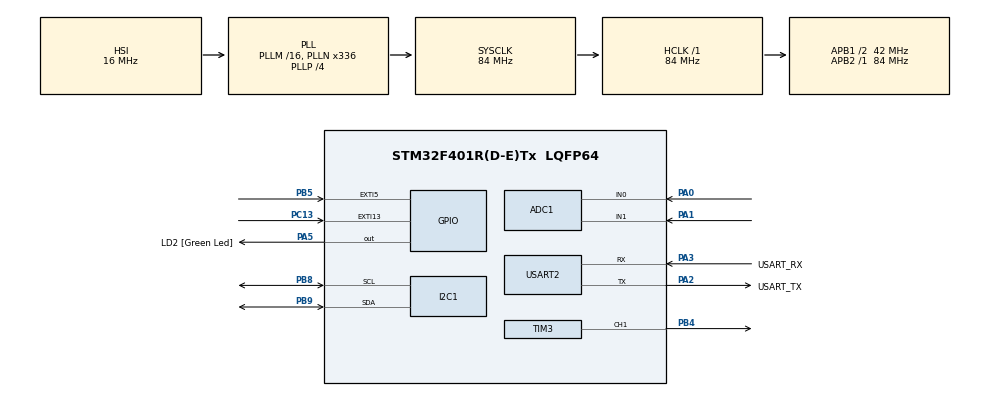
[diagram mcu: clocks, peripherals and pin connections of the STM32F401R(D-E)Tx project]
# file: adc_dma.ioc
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ADC1.Channel-0\#ChannelRegularConversion=ADC_CHANNEL_0
ADC1.Channel-1\#ChannelRegularConversion=ADC_CHANNEL_1
ADC1.ContinuousConvMode=ENABLE
ADC1.DMAContinuousRequests=ENABLE
ADC1.NbrOfConversion=2
ADC1.NbrOfConversionFlag=1
ADC1.Rank-0\#ChannelRegularConversion=1
ADC1.Rank-1\#ChannelRegularConversion=2
ADC1.SamplingTime-0\#ChannelRegularConversion=ADC_SAMPLETIME_480CYCLES
ADC1.SamplingTime-1\#ChannelRegularConversion=ADC_SAMPLETIME_480CYCLES
ADC1.ScanConvMode=ENABLE
ADC1.master=1
Dma.ADC1.0.Direction=DMA_PERIPH_TO_MEMORY
Dma.ADC1.0.FIFOMode=DMA_FIFOMODE_DISABLE
Dma.ADC1.0.Instance=DMA2_Stream0
Dma.ADC1.0.MemDataAlignment=DMA_MDATAALIGN_HALFWORD
Dma.ADC1.0.MemInc=DMA_MINC_ENABLE
Dma.ADC1.0.Mode=DMA_CIRCULAR
Dma.ADC1.0.PeriphDataAlignment=DMA_PDATAALIGN_HALFWORD
Dma.ADC1.0.PeriphInc=DMA_PINC_DISABLE
Dma.ADC1.0.Priority=DMA_PRIORITY_LOW
Dma.Request0=ADC1
I2C1.I2C_Mode=I2C_Fast
I2C1.OwnAddress=117
Mcu.Family=STM32F4
Mcu.Name=STM32F401R(D-E)Tx
Mcu.Package=LQFP64
NVIC.ADC_IRQn=true\:1\:0\:true\:false\:true\:true\:true\:true
NVIC.DMA2_Stream0_IRQn=true\:0\:0\:false\:false\:true\:false\:true\:true
NVIC.EXTI15_10_IRQn=true\:0\:0\:false\:false\:true\:true\:true\:true
NVIC.EXTI9_5_IRQn=true\:0\:0\:false\:false\:true\:true\:true\:true
NVIC.PriorityGroup=NVIC_PRIORITYGROUP_4
NVIC.TIM2_IRQn=true\:0\:0\:false\:false\:true\:true\:true\:true
PA0-WKUP.Signal=ADCx_IN0
PA1.Signal=ADCx_IN1
PA13.GPIO_Label=TMS
PA13.Mode=Serial_Wire
PA13.Signal=SYS_JTMS-SWDIO
PA14.GPIO_Label=TCK
PA14.Mode=Serial_Wire
PA14.Signal=SYS_JTCK-SWCLK
PA2.GPIO_Label=USART_TX
PA2.GPIO_Mode=GPIO_MODE_AF_PP
PA2.GPIO_PuPd=GPIO_NOPULL
PA2.GPIO_Speed=GPIO_SPEED_FREQ_LOW
PA2.Mode=Asynchronous
PA2.Signal=USART2_TX
PA3.GPIO_Label=USART_RX
PA3.GPIO_Mode=GPIO_MODE_AF_PP
PA3.GPIO_PuPd=GPIO_NOPULL
PA3.GPIO_Speed=GPIO_SPEED_FREQ_LOW
PA3.Mode=Asynchronous
PA3.Signal=USART2_RX
PA5.GPIO_Label=LD2 [Green Led]
PA5.GPIO_Mode=GPIO_MODE_OUTPUT_PP
PA5.GPIO_PuPd=GPIO_NOPULL
PA5.GPIO_Speed=GPIO_SPEED_FREQ_LOW
PA5.Signal=GPIO_Output
PB3.GPIO_Label=SWO
PB3.Signal=SYS_JTDO-SWO
PB4.Signal=S_TIM3_CH1
PB5.GPIO_ModeDefaultEXTI=GPIO_MODE_IT_FALLING
PB5.GPIO_PuPd=GPIO_PULLUP
PB5.Signal=GPXTI5
PB8.Mode=I2C
PB8.Signal=I2C1_SCL
PB9.Mode=I2C
PB9.Signal=I2C1_SDA
PC13-ANTI_TAMP.GPIO_ModeDefaultEXTI=GPIO_MODE_IT_FALLING
PC13-ANTI_TAMP.Signal=GPXTI13
PC14-OSC32_IN.Mode=LSE-External-Oscillator
PC14-OSC32_IN.Signal=RCC_OSC32_IN
PC15-OSC32_OUT.Mode=LSE-External-Oscillator
PC15-OSC32_OUT.Signal=RCC_OSC32_OUT
PH0\ -\ OSC_IN.Mode=HSE-External-Clock-Source
PH0\ -\ OSC_IN.Signal=RCC_OSC_IN
PH1\ -\ OSC_OUT.Mode=HSE-External-Clock-Source
PH1\ -\ OSC_OUT.Signal=RCC_OSC_OUT
ProjectManager.HeapSize=0x200
ProjectManager.StackSize=0x400
ProjectManager.TargetToolchain=STM32CubeIDE
RCC.48MHZClocksFreq_Value=48000000
RCC.AHBFreq_Value=84000000
RCC.APB1CLKDivider=RCC_HCLK_DIV2
RCC.APB1Freq_Value=42000000
RCC.APB1TimFreq_Value=84000000
RCC.APB2Freq_Value=84000000
RCC.APB2TimFreq_Value=84000000
RCC.CortexFreq_Value=84000000
RCC.HCLKFreq_Value=84000000
RCC.HSE_VALUE=8000000
RCC.HSI_VALUE=16000000
RCC.PLLN=336
RCC.PLLP=RCC_PLLP_DIV4
RCC.PLLQ=7
RCC.SYSCLKFreq_VALUE=84000000
RCC.SYSCLKSource=RCC_SYSCLKSOURCE_PLLCLK
RCC.VCOOutputFreq_Value=336000000
SH.ADCx_IN0.0=ADC1_IN0,IN0
SH.ADCx_IN1.0=ADC1_IN1,IN1
SH.S_TIM3_CH1.0=TIM3_CH1,PWM Generation1 CH1
TIM2.AutoReloadPreload=TIM_AUTORELOAD_PRELOAD_ENABLE
TIM2.Period=84000-1
TIM2.Prescaler=10
TIM2.TIM_MasterOutputTrigger=TIM_TRGO_UPDATE
TIM3.Channel-PWM\ Generation1\ CH1=TIM_CHANNEL_1
TIM3.Period=500
TIM3.Prescaler=83
USART2.VirtualMode=VM_ASYNC
VP_TIM2_VS_ClockSourceINT.Mode=Internal
board=NUCLEO-F401RE

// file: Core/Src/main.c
/* USER CODE BEGIN Header */
/**
  ******************************************************************************
  * @file           : main.c
  * @brief          : Catch the ball game with 11x7 LED matrix, joystick and
  *                   speaker by Yung.
  ******************************************************************************
  */
/* USER CODE END Header */

#include "main.h"
#include "ledmatrix.h"  // Include the LED matrix header

/* USER CODE BEGIN Includes */
#include <stdio.h>
#include <string.h>
#include <stdbool.h>
/* USER CODE END Includes */

/* USER CODE BEGIN PTD */
/* (Any custom typedefs can be placed here) */
/* USER CODE END PTD */

/* USER CODE BEGIN PD */
#define B1_Pin GPIO_PIN_13
#define B1_GPIO_Port GPIOC

#define LONG_PRESS_THRESHOLD 1000  // Long press threshold in ms
/* USER CODE END PD */

/* USER CODE BEGIN PM */
/* (Any custom macros) */
/* USER CODE END PM */

ADC_HandleTypeDef hadc1;
DMA_HandleTypeDef hdma_adc1;

I2C_HandleTypeDef hi2c1;

TIM_HandleTypeDef htim2;
TIM_HandleTypeDef htim3;

UART_HandleTypeDef huart2;

/* USER CODE BEGIN PV */
/* Global variables for joystick readings */
uint16_t Xaxis = 0;
uint16_t Yaxis = 0;
uint16_t rawValues[2];
char msg[40];

bool beepActive = false;
uint32_t beepStartTick = 0;
const uint32_t beepDuration = 100; // Duration in ms for the nonblocking beep

bool paused = false;  // Global pause flag

/* Game speed variables */
uint32_t gameDelay = 150; // Global frame delay in ms (initial game speed)
const uint32_t minDelay = 50; // Minimum delay (max game speed)

/* Variables for PB5 press detection */
uint32_t pb5_press_time = 0;
bool pb5_pressed_flag = false;
bool pb5_long_press_executed = false;
/* USER CODE END PV */

void SystemClock_Config(void);
static void MX_GPIO_Init(void);
static void MX_DMA_Init(void);
static void MX_USART2_UART_Init(void);
static void MX_ADC1_Init(void);
static void MX_TIM2_Init(void);
static void MX_I2C1_Init(void);
static void MX_TIM3_Init(void);
/* USER CODE BEGIN PFP */
void beep(uint32_t score);
void beepBlocking(void);
/* USER CODE END PFP */

/* USER CODE BEGIN 0 */
void beep(uint32_t score)
{
  if (!beepActive)
  {
    beepActive = true;
    beepStartTick = HAL_GetTick();

    // Calculate tone period based on score (lower period means higher pitch)
    uint32_t basePeriod = 3000; // Start with a low tone
    uint32_t decrement  = 50;
    uint32_t minPeriod  = 300;  // Clamp to a high tone at minimum period
    uint32_t tonePeriod;

    if (score * decrement < (basePeriod - minPeriod))
    {
      tonePeriod = basePeriod - score * decrement;
    }
    else
    {
      tonePeriod = minPeriod;
    }

    __HAL_TIM_SET_AUTORELOAD(&htim3, tonePeriod);
    __HAL_TIM_SET_COMPARE(&htim3, TIM_CHANNEL_1, tonePeriod / 2);
    HAL_TIM_PWM_Start(&htim3, TIM_CHANNEL_1);
  }
}

void beepBlocking(void)
{
  __HAL_TIM_SET_COMPARE(&htim3, TIM_CHANNEL_1, htim3.Init.Period / 2);
  HAL_TIM_PWM_Start(&htim3, TIM_CHANNEL_1);
  HAL_Delay(300);
  HAL_TIM_PWM_Stop(&htim3, TIM_CHANNEL_1);
}

void HAL_GPIO_EXTI_Callback(uint16_t GPIO_Pin)
{
  if (GPIO_Pin == B1_Pin)
  {
    // Toggle the pause flag when B1 is pressed.
    paused = !paused;
  }
}

void HAL_TIM_PeriodElapsedCallback(TIM_HandleTypeDef *htim)
{
  if (htim->Instance == TIM2)
  {
    Xaxis = rawValues[0];
    Yaxis = rawValues[1];
    // Uncomment below lines to debug joystick values via UART:
    // sprintf(msg, "X: %hu, Y: %hu\r\n", Xaxis, Yaxis);
    // HAL_UART_Transmit(&huart2, (uint8_t *)msg, strlen(msg), HAL_MAX_DELAY);
  }
}
/* USER CODE END 0 */

int main(void)
{
  /* USER CODE BEGIN 1 */
  // (Additional pre-initialization code if needed)
  /* USER CODE END 1 */

  /* MCU Configuration--------------------------------------------------------*/

  /* Reset all peripherals, initialize the Flash interface and the Systick. */
  HAL_Init();

  /* USER CODE BEGIN Init */
  // (Additional initialization before system clock configuration)
  /* USER CODE END Init */

  /* Configure the system clock */
  SystemClock_Config();

  /* USER CODE BEGIN SysInit */
  // (Additional system initialization)
  /* USER CODE END SysInit */

  /* Initialize all configured peripherals */
  MX_GPIO_Init();
  MX_DMA_Init();
  MX_USART2_UART_Init();
  MX_ADC1_Init();
  MX_TIM2_Init();
  MX_I2C1_Init();
  MX_TIM3_Init();
  /* USER CODE BEGIN 2 */
  HAL_ADC_Start_DMA(&hadc1, (uint32_t *)rawValues, 2);
  HAL_TIM_Base_Start_IT(&htim2);
  LEDMatrix_TurnOn();

  /* Game variables for paddle and falling object */
  uint8_t paddlePos = 3;
  uint8_t fallRow   = 0;
  uint8_t fallCol   = 3;
  uint32_t scoreLocal = 0;

  /* Joystick thresholds */
  const uint16_t thresholdRight = 2500;
  const uint16_t thresholdLeft  = 1500;
  /* USER CODE END 2 */

  /* Infinite loop */
  /* USER CODE BEGIN WHILE */
  while (1)
  {
    /* --- PB5 Button Polling --- */
    if (HAL_GPIO_ReadPin(GPIOB, GPIO_PIN_5) == GPIO_PIN_RESET)
    {
      if (!pb5_pressed_flag)
      {
        // Button pressed down for the first time.
        pb5_press_time = HAL_GetTick();
        pb5_pressed_flag = true;
        pb5_long_press_executed = false;
      }
      else
      {
        // Button is still pressed.
        if (!pb5_long_press_executed &&
            (HAL_GetTick() - pb5_press_time >= LONG_PRESS_THRESHOLD))
        {
          // Long press detected: run game-over sequence.
          sprintf(msg, "Game Over! Final Score: %lu\r\n", scoreLocal);
          HAL_UART_Transmit(&huart2, (uint8_t *)msg, strlen(msg), HAL_MAX_DELAY);
          LEDMatrix_FlashScreen(3);
          LEDMatrix_DisplayScore(scoreLocal);
          HAL_Delay(2000);

          // Reset game variables.
          scoreLocal = 0;
          gameDelay = 150;
          fallRow = 0;
          fallCol = (fallCol + 2) % 7;
          pb5_long_press_executed = true;
        }
      }
    }
    else
    {
      // Button released.
      if (pb5_pressed_flag)
      {
        // If button was released before the long-press threshold, it's a short press.
        if (!pb5_long_press_executed)
        {
          if (gameDelay > minDelay)
          {
            gameDelay -= 10;
          }
        }
        pb5_pressed_flag = false;
        pb5_long_press_executed = false;
      }
    }

    if (!paused)
    {
      LEDMatrix_ClearScreen();

      if (Yaxis > thresholdRight && paddlePos > 0)
      {
        paddlePos--;
      }
      else if (Yaxis < thresholdLeft && paddlePos < 6)
      {
        paddlePos++;
      }
      LEDMatrix_DrawPaddle(paddlePos);
      LEDMatrix_AddPixel(fallRow, fallCol);
      HAL_Delay(gameDelay);

      if (fallRow < 10)
      {
        fallRow++;
      }
      else
      {
        uint8_t catchStart, catchEnd;
        if (paddlePos == 0)
        {
          catchStart = 0;
          catchEnd   = 2;
        }
        else if (paddlePos >= 6)
        {
          catchStart = 4;
          catchEnd   = 6;
        }
        else
        {
          catchStart = paddlePos - 1;
          catchEnd   = paddlePos + 1;
        }

        if (fallCol >= catchStart && fallCol <= catchEnd)
        {
          beep(scoreLocal);
          scoreLocal++;
          sprintf(msg, "Score: %lu\r\n", scoreLocal);
          HAL_UART_Transmit(&huart2, (uint8_t *)msg, strlen(msg), HAL_MAX_DELAY);
          if (gameDelay > minDelay)
          {
            gameDelay -= 10;
          }
        }
        else
        {
          sprintf(msg, "Game Over! Final Score: %lu\r\n", scoreLocal);
          HAL_UART_Transmit(&huart2, (uint8_t *)msg, strlen(msg), HAL_MAX_DELAY);
          LEDMatrix_FlashScreen(3);
          LEDMatrix_DisplayScore(scoreLocal);
          HAL_Delay(2000);
          scoreLocal = 0;
          gameDelay = 150;
        }
        fallRow = 0;
        fallCol = (fallCol + 2) % 7;
      }
    }
    else
    {
      HAL_GPIO_TogglePin(LD2_GPIO_Port, LD2_Pin);
      HAL_Delay(200);
    }

    if (beepActive && (HAL_GetTick() - beepStartTick >= beepDuration))
    {
      HAL_TIM_PWM_Stop(&htim3, TIM_CHANNEL_1);
      beepActive = false;
    }
  }
  /* USER CODE END WHILE */

  /* USER CODE BEGIN 3 */
  // (Additional code if needed)
  /* USER CODE END 3 */
}

void SystemClock_Config(void)
{
  RCC_OscInitTypeDef RCC_OscInitStruct = {0};
  RCC_ClkInitTypeDef RCC_ClkInitStruct = {0};

  /** Configure the main internal regulator output voltage */
  __HAL_RCC_PWR_CLK_ENABLE();
  __HAL_PWR_VOLTAGESCALING_CONFIG(PWR_REGULATOR_VOLTAGE_SCALE2);

  /** Initializes the RCC Oscillators according to the specified parameters */
  RCC_OscInitStruct.OscillatorType = RCC_OSCILLATORTYPE_HSI;
  RCC_OscInitStruct.HSIState = RCC_HSI_ON;
  RCC_OscInitStruct.HSICalibrationValue = RCC_HSICALIBRATION_DEFAULT;
  RCC_OscInitStruct.PLL.PLLState = RCC_PLL_ON;
  RCC_OscInitStruct.PLL.PLLSource = RCC_PLLSOURCE_HSI;
  RCC_OscInitStruct.PLL.PLLM = 16;
  RCC_OscInitStruct.PLL.PLLN = 336;
  RCC_OscInitStruct.PLL.PLLP = RCC_PLLP_DIV4;
  RCC_OscInitStruct.PLL.PLLQ = 7;
  if (HAL_RCC_OscConfig(&RCC_OscInitStruct) != HAL_OK)
  {
    Error_Handler();
  }
  /** Initializes the CPU, AHB and APB buses clocks */
  RCC_ClkInitStruct.ClockType = RCC_CLOCKTYPE_HCLK | RCC_CLOCKTYPE_SYSCLK
                              | RCC_CLOCKTYPE_PCLK1 | RCC_CLOCKTYPE_PCLK2;
  RCC_ClkInitStruct.SYSCLKSource = RCC_SYSCLKSOURCE_PLLCLK;
  RCC_ClkInitStruct.AHBCLKDivider = RCC_SYSCLK_DIV1;
  RCC_ClkInitStruct.APB1CLKDivider = RCC_HCLK_DIV2;
  RCC_ClkInitStruct.APB2CLKDivider = RCC_HCLK_DIV1;
  if (HAL_RCC_ClockConfig(&RCC_ClkInitStruct, FLASH_LATENCY_2) != HAL_OK)
  {
    Error_Handler();
  }
}

static void MX_ADC1_Init(void)
{
  ADC_ChannelConfTypeDef sConfig = {0};

  hadc1.Instance = ADC1;
  hadc1.Init.ClockPrescaler = ADC_CLOCK_SYNC_PCLK_DIV4;
  hadc1.Init.Resolution = ADC_RESOLUTION_12B;
  hadc1.Init.ScanConvMode = ENABLE;
  hadc1.Init.ContinuousConvMode = ENABLE;
  hadc1.Init.DiscontinuousConvMode = DISABLE;
  hadc1.Init.ExternalTrigConvEdge = ADC_EXTERNALTRIGCONVEDGE_NONE;
  hadc1.Init.ExternalTrigConv = ADC_SOFTWARE_START;
  hadc1.Init.DataAlign = ADC_DATAALIGN_RIGHT;
  hadc1.Init.NbrOfConversion = 2;
  hadc1.Init.DMAContinuousRequests = ENABLE;
  hadc1.Init.EOCSelection = ADC_EOC_SINGLE_CONV;
  if (HAL_ADC_Init(&hadc1) != HAL_OK)
  {
    Error_Handler();
  }
  sConfig.Channel = ADC_CHANNEL_0;
  sConfig.Rank = 1;
  sConfig.SamplingTime = ADC_SAMPLETIME_480CYCLES;
  if (HAL_ADC_ConfigChannel(&hadc1, &sConfig) != HAL_OK)
  {
    Error_Handler();
  }
  sConfig.Channel = ADC_CHANNEL_1;
  sConfig.Rank = 2;
  if (HAL_ADC_ConfigChannel(&hadc1, &sConfig) != HAL_OK)
  {
    Error_Handler();
  }
}

static void MX_I2C1_Init(void)
{
  hi2c1.Instance = I2C1;
  hi2c1.Init.ClockSpeed = 400000;
  hi2c1.Init.DutyCycle = I2C_DUTYCYCLE_2;
  hi2c1.Init.OwnAddress1 = 234;
  hi2c1.Init.AddressingMode = I2C_ADDRESSINGMODE_7BIT;
  hi2c1.Init.DualAddressMode = I2C_DUALADDRESS_DISABLE;
  hi2c1.Init.OwnAddress2 = 0;
  hi2c1.Init.GeneralCallMode = I2C_GENERALCALL_DISABLE;
  hi2c1.Init.NoStretchMode = I2C_NOSTRETCH_DISABLE;
  if (HAL_I2C_Init(&hi2c1) != HAL_OK)
  {
    Error_Handler();
  }
}

static void MX_TIM2_Init(void)
{
  TIM_ClockConfigTypeDef sClockSourceConfig = {0};
  TIM_MasterConfigTypeDef sMasterConfig = {0};

  htim2.Instance = TIM2;
  htim2.Init.Prescaler = 10;
  htim2.Init.CounterMode = TIM_COUNTERMODE_UP;
  htim2.Init.Period = 84000 - 1;
  htim2.Init.ClockDivision = TIM_CLOCKDIVISION_DIV1;
  htim2.Init.AutoReloadPreload = TIM_AUTORELOAD_PRELOAD_ENABLE;
  if (HAL_TIM_Base_Init(&htim2) != HAL_OK)
  {
    Error_Handler();
  }
  sClockSourceConfig.ClockSource = TIM_CLOCKSOURCE_INTERNAL;
  if (HAL_TIM_ConfigClockSource(&htim2, &sClockSourceConfig) != HAL_OK)
  {
    Error_Handler();
  }
  sMasterConfig.MasterOutputTrigger = TIM_TRGO_UPDATE;
  sMasterConfig.MasterSlaveMode = TIM_MASTERSLAVEMODE_DISABLE;
  if (HAL_TIMEx_MasterConfigSynchronization(&htim2, &sMasterConfig) != HAL_OK)
  {
    Error_Handler();
  }
}

static void MX_TIM3_Init(void)
{
  TIM_MasterConfigTypeDef sMasterConfig = {0};
  TIM_OC_InitTypeDef sConfigOC = {0};

  htim3.Instance = TIM3;
  htim3.Init.Prescaler = 83;
  htim3.Init.CounterMode = TIM_COUNTERMODE_UP;
  htim3.Init.Period = 500;
  htim3.Init.ClockDivision = TIM_CLOCKDIVISION_DIV1;
  htim3.Init.AutoReloadPreload = TIM_AUTORELOAD_PRELOAD_DISABLE;
  if (HAL_TIM_PWM_Init(&htim3) != HAL_OK)
  {
    Error_Handler();
  }
  sMasterConfig.MasterOutputTrigger = TIM_TRGO_RESET;
  sMasterConfig.MasterSlaveMode = TIM_MASTERSLAVEMODE_DISABLE;
  if (HAL_TIMEx_MasterConfigSynchronization(&htim3, &sMasterConfig) != HAL_OK)
  {
    Error_Handler();
  }
  sConfigOC.OCMode = TIM_OCMODE_PWM1;
  sConfigOC.Pulse = 0;
  sConfigOC.OCPolarity = TIM_OCPOLARITY_HIGH;
  sConfigOC.OCFastMode = TIM_OCFAST_DISABLE;
  if (HAL_TIM_PWM_ConfigChannel(&htim3, &sConfigOC, TIM_CHANNEL_1) != HAL_OK)
  {
    Error_Handler();
  }
  HAL_TIM_MspPostInit(&htim3);
}

static void MX_USART2_UART_Init(void)
{
  huart2.Instance = USART2;
  huart2.Init.BaudRate = 115200;
  huart2.Init.WordLength = UART_WORDLENGTH_8B;
  huart2.Init.StopBits = UART_STOPBITS_1;
  huart2.Init.Parity = UART_PARITY_NONE;
  huart2.Init.Mode = UART_MODE_TX_RX;
  huart2.Init.HwFlowCtl = UART_HWCONTROL_NONE;
  huart2.Init.OverSampling = UART_OVERSAMPLING_16;
  if (HAL_UART_Init(&huart2) != HAL_OK)
  {
    Error_Handler();
  }
}

static void MX_DMA_Init(void)
{
  __HAL_RCC_DMA2_CLK_ENABLE();

  /* DMA interrupt init */
  HAL_NVIC_SetPriority(DMA2_Stream0_IRQn, 0, 0);
  HAL_NVIC_EnableIRQ(DMA2_Stream0_IRQn);
}

static void MX_GPIO_Init(void)
{
  GPIO_InitTypeDef GPIO_InitStruct = {0};

  /* GPIO Ports Clock Enable */
  __HAL_RCC_GPIOC_CLK_ENABLE();
  __HAL_RCC_GPIOH_CLK_ENABLE();
  __HAL_RCC_GPIOA_CLK_ENABLE();
  __HAL_RCC_GPIOB_CLK_ENABLE();

  /* Configure GPIO pin Output Level for LD2 */
  HAL_GPIO_WritePin(LD2_GPIO_Port, LD2_Pin, GPIO_PIN_RESET);

  /* Configure GPIO pin : PC13 (B1 button) */
  GPIO_InitStruct.Pin = GPIO_PIN_13;
  GPIO_InitStruct.Mode = GPIO_MODE_IT_FALLING;
  GPIO_InitStruct.Pull = GPIO_NOPULL;
  HAL_GPIO_Init(GPIOC, &GPIO_InitStruct);

  /* Configure GPIO pin : LD2_Pin */
  GPIO_InitStruct.Pin = LD2_Pin;
  GPIO_InitStruct.Mode = GPIO_MODE_OUTPUT_PP;
  GPIO_InitStruct.Pull = GPIO_NOPULL;
  GPIO_InitStruct.Speed = GPIO_SPEED_FREQ_LOW;
  HAL_GPIO_Init(LD2_GPIO_Port, &GPIO_InitStruct);

  /* Configure GPIO pin : PB5 (game control button) */
  GPIO_InitStruct.Pin = GPIO_PIN_5;
  GPIO_InitStruct.Mode = GPIO_MODE_IT_FALLING;
  GPIO_InitStruct.Pull = GPIO_PULLUP;
  HAL_GPIO_Init(GPIOB, &GPIO_InitStruct);

  /* EXTI interrupt init */
  HAL_NVIC_SetPriority(EXTI9_5_IRQn, 0, 0);
  HAL_NVIC_EnableIRQ(EXTI9_5_IRQn);

  HAL_NVIC_SetPriority(EXTI15_10_IRQn, 0, 0);
  HAL_NVIC_EnableIRQ(EXTI15_10_IRQn);
}

/* USER CODE BEGIN 4 */
/* Additional user code can be added here */
/* USER CODE END 4 */

void Error_Handler(void)
{
  __disable_irq();
  while (1)
  {
  }
}
